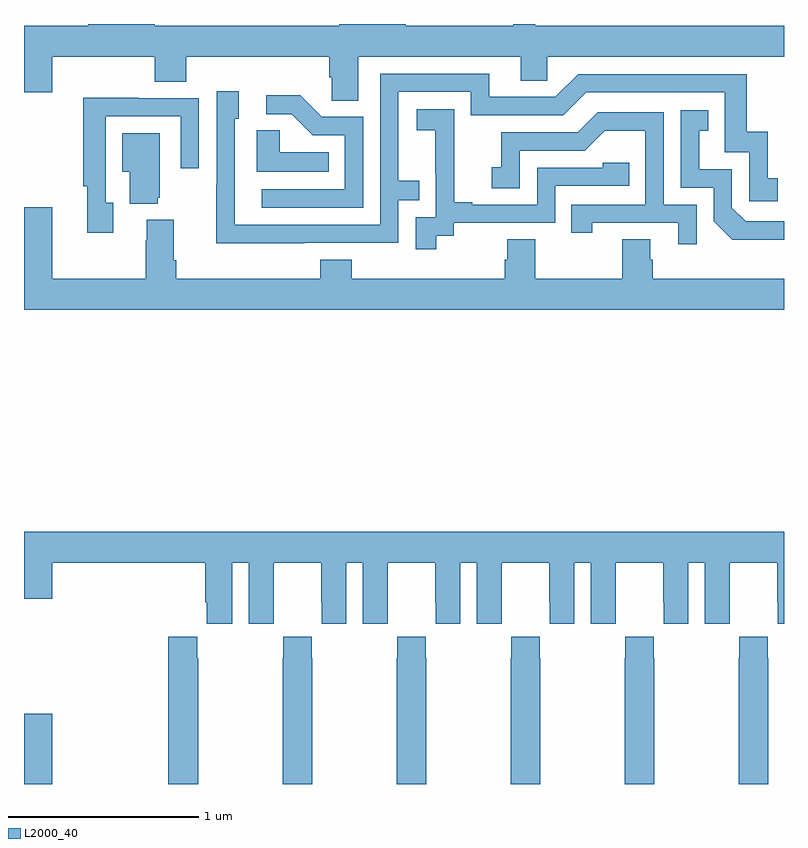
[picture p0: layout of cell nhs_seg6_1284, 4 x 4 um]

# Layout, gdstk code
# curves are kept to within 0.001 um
import gdstk
lib = gdstk.Library(unit=1e-6, precision=1e-09)
def R(c, l, rs):  # rectangles x0, y0, x1, y1
    for r in rs: c.add(gdstk.rectangle(r[:2], r[2:], *l))
def P(c, l, *ps):  # polygons
    for p in ps: c.add(gdstk.Polygon(p, *l))
L2000_40 = (2000, 40)

nhs_seg6_1284 = lib.new_cell('nhs_seg6_1284')
R(nhs_seg6_1284, L2000_40, [(189,951.5,189.148,951.871)])
P(nhs_seg6_1284, L2000_40, [(190.759,955.328),(191.615,955.328),(191.615,955.201),(191.754,955.201),(191.754,955.328),(193,955.328),(193,955.492),(191.692,955.492),(191.692,955.5),(191.575,955.5),(191.575,955.492),(191.008,955.492),(191.008,955.5),(190.658,955.5),(190.658,955.492),(189.688,955.492),(189.688,955.5),(189.338,955.5),(189.338,955.492),(189,955.492),(189,955.14),(189.148,955.14),(189.148,955.328),(189.689,955.328),(189.689,955.195),(189.854,955.195),(189.854,955.328),(190.607,955.328),(190.607,955.219),(190.62,955.219),(190.62,955.096),(190.759,955.096)],
  [(190.475,954.348),(190.971,954.348),(190.971,954.573),(191.081,954.573),(191.081,954.674),(190.971,954.674),(190.971,955.143),(191.352,955.143),(191.352,955.02),(191.838,955.02),(191.958,955.14),(192.687,955.14),(192.687,954.825),(192.816,954.825),(192.816,954.567),(192.967,954.567),(192.967,954.687),(192.914,954.687),(192.914,954.934),(192.803,954.934),(192.803,955.236),(191.916,955.236),(191.796,955.116),(191.449,955.116),(191.449,955.239),(190.875,955.239),(190.875,954.444),(190.11,954.444),(190.11,955.002),(190.129,955.002),(190.129,955.147),(190.014,955.147),(190.014,954.653),(190.012,954.653),(190.012,954.347)],
  [(190.785,955.011),(190.566,955.011),(190.453,955.124),(190.275,955.124),(190.275,955.026),(190.409,955.026),(190.52,954.915),(190.689,954.915),(190.689,954.63),(190.251,954.63),(190.251,954.534),(190.785,954.534)],
  [(189.469,954.558),(189.429,954.558),(189.429,955.014),(189.825,955.014),(189.825,954.741),(189.921,954.741),(189.921,955.11),(189.605,955.11),(189.605,955.112),(189.313,955.112),(189.313,954.646),(189.332,954.646),(189.332,954.402),(189.469,954.402)],
  [(191.17,954.385),(191.262,954.385),(191.262,954.453),(191.796,954.453),(191.796,954.648),(192.185,954.648),(192.185,954.771),(192.045,954.771),(192.045,954.744),(191.7,954.744),(191.7,954.549),(191.359,954.549),(191.359,954.562),(191.264,954.562),(191.264,954.845),(191.265,954.845),(191.265,955.051),(191.067,955.051),(191.067,954.941),(191.165,954.941),(191.165,954.713),(191.166,954.713),(191.166,954.483),(191.061,954.483),(191.061,954.315),(191.17,954.315)],
  [(193,954.462),(192.798,954.462),(192.726,954.534),(192.726,954.735),(192.553,954.735),(192.553,954.939),(192.602,954.939),(192.602,955.045),(192.456,955.045),(192.456,954.639),(192.63,954.639),(192.63,954.462),(192.728,954.365),(193,954.365)],
  [(192.54,954.549),(192.366,954.549),(192.366,955.035),(192.02,955.035),(191.915,954.93),(191.512,954.93),(191.512,954.745),(191.463,954.745),(191.463,954.636),(191.61,954.636),(191.61,954.834),(191.952,954.834),(192.056,954.938),(192.27,954.938),(192.27,954.549),(191.881,954.549),(191.881,954.402),(191.992,954.402),(191.992,954.453),(192.443,954.453),(192.443,954.342),(192.54,954.342)],
  [(190.604,954.826),(190.347,954.826),(190.347,954.941),(190.226,954.941),(190.226,954.722),(190.604,954.722)],
  [(189.704,954.585),(189.715,954.585),(189.715,954.925),(189.518,954.925),(189.518,954.722),(189.557,954.722),(189.557,954.554),(189.704,954.554)],
  [(193,954.16),(192.308,954.16),(192.308,954.258),(192.295,954.258),(192.295,954.368),(192.148,954.368),(192.148,954.16),(191.691,954.16),(191.691,954.368),(191.543,954.368),(191.543,954.258),(191.531,954.258),(191.531,954.16),(190.724,954.16),(190.724,954.259),(190.559,954.259),(190.559,954.16),(189.8,954.16),(189.8,954.256),(189.787,954.256),(189.787,954.469),(189.647,954.469),(189.647,954.362),(189.64,954.362),(189.64,954.16),(189.148,954.16),(189.148,954.535),(189,954.535),(189,953.996),(193,953.996)],
  [(189,952.476),(189.148,952.476),(189.148,952.664),(189.953,952.664),(189.953,952.456),(189.962,952.456),(189.962,952.344),(190.096,952.344),(190.096,952.664),(190.184,952.664),(190.184,952.344),(190.314,952.344),(190.314,952.456),(190.315,952.456),(190.315,952.664),(190.565,952.664),(190.565,952.456),(190.566,952.456),(190.566,952.344),(190.696,952.344),(190.696,952.664),(190.784,952.664),(190.784,952.344),(190.914,952.344),(190.914,952.456),(190.915,952.456),(190.915,952.664),(191.165,952.664),(191.165,952.456),(191.166,952.456),(191.166,952.344),(191.296,952.344),(191.296,952.664),(191.384,952.664),(191.384,952.344),(191.514,952.344),(191.514,952.456),(191.515,952.456),(191.515,952.664),(191.765,952.664),(191.765,952.456),(191.766,952.456),(191.766,952.344),(191.896,952.344),(191.896,952.664),(191.984,952.664),(191.984,952.344),(192.114,952.344),(192.114,952.456),(192.115,952.456),(192.115,952.664),(192.365,952.664),(192.365,952.456),(192.366,952.456),(192.366,952.344),(192.496,952.344),(192.496,952.664),(192.584,952.664),(192.584,952.344),(192.714,952.344),(192.714,952.456),(192.715,952.456),(192.715,952.664),(192.965,952.664),(192.965,952.456),(192.966,952.456),(192.966,952.344),(193,952.344),(193,952.828),(189,952.828)],
  [(189.918,952.163),(189.911,952.163),(189.911,952.276),(189.758,952.276),(189.758,951.5),(189.918,951.5)],
  [(191.118,952.163),(191.115,952.163),(191.115,952.276),(190.965,952.276),(190.965,952.163),(190.963,952.163),(190.963,951.5),(191.118,951.5)],
  [(191.718,952.163),(191.715,952.163),(191.715,952.276),(191.565,952.276),(191.565,952.163),(191.563,952.163),(191.563,951.5),(191.718,951.5)],
  [(192.318,952.163),(192.315,952.163),(192.315,952.276),(192.165,952.276),(192.165,952.163),(192.163,952.163),(192.163,951.5),(192.318,951.5)],
  [(192.918,952.163),(192.915,952.163),(192.915,952.276),(192.765,952.276),(192.765,952.163),(192.763,952.163),(192.763,951.5),(192.918,951.5)],
  [(190.518,952.163),(190.515,952.163),(190.515,952.276),(190.365,952.276),(190.365,952.163),(190.363,952.163),(190.363,951.5),(190.518,951.5)])

lib.write_gds('nhs_seg6_1284.gds')
